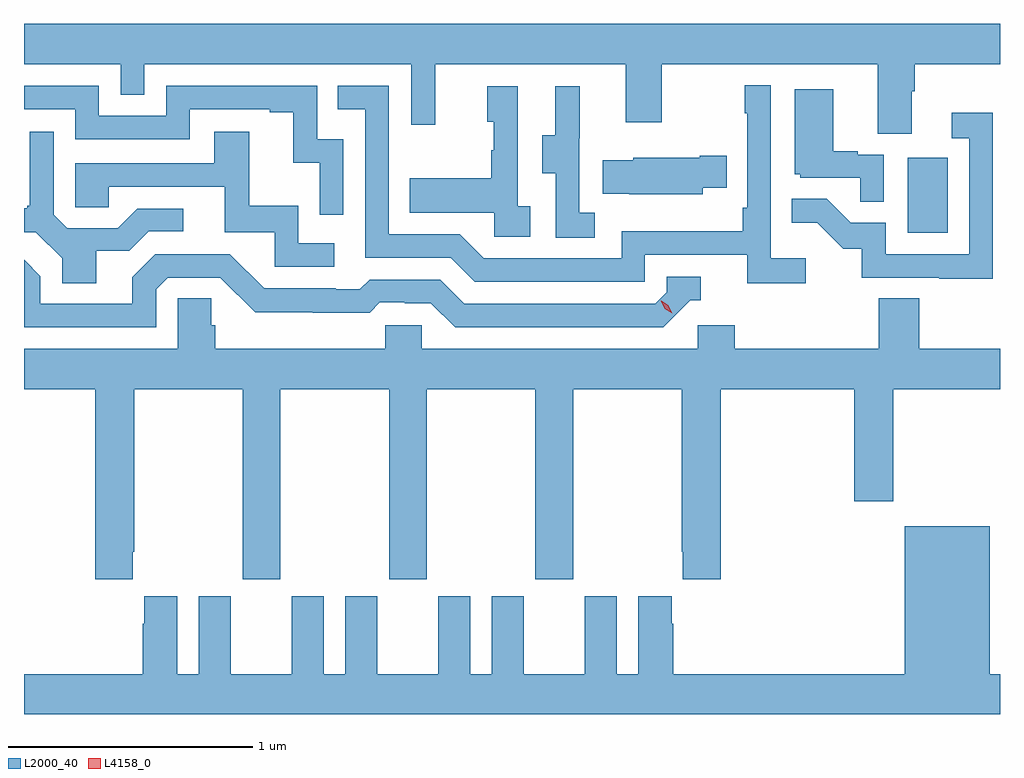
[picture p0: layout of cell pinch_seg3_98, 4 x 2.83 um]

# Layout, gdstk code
import gdstk
lib = gdstk.Library(unit=1e-6, precision=1e-09)
def R(c, l, rs):  # rectangles x0, y0, x1, y1
    for r in rs: c.add(gdstk.rectangle(r[:2], r[2:], *l))
def P(c, l, *ps):  # polygons
    for p in ps: c.add(gdstk.Polygon(p, *l))
L2000_40 = (2000, 40)
L4158_0 = (4158, 0)

pinch_seg3_98 = lib.new_cell('pinch_seg3_98')
R(pinch_seg3_98, L2000_40, [(1063.352,728.196,1063.516,728.503)])
P(pinch_seg3_98, L2000_40, [(1063.369,728.776),(1063.382,728.776),(1063.382,728.888),(1063.731,728.888),(1063.731,729.052),(1059.731,729.052),(1059.731,728.888),(1060.128,728.888),(1060.128,728.761),(1060.224,728.761),(1060.224,728.888),(1061.319,728.888),(1061.319,728.64),(1061.417,728.64),(1061.417,728.888),(1062.197,728.888),(1062.197,728.649),(1062.345,728.649),(1062.345,728.888),(1063.229,728.888),(1063.229,728.602),(1063.369,728.602)],
  [(1062.934,728.092),(1062.792,728.092),(1062.792,728.8),(1062.684,728.8),(1062.684,728.687),(1062.696,728.687),(1062.696,728.299),(1062.676,728.299),(1062.676,728.203),(1062.18,728.203),(1062.18,728.091),(1061.616,728.091),(1061.517,728.19),(1061.226,728.19),(1061.226,728.799),(1061.017,728.799),(1061.017,728.703),(1061.13,728.703),(1061.13,728.094),(1061.48,728.094),(1061.579,727.995),(1062.276,727.995),(1062.276,728.106),(1062.695,728.106),(1062.695,727.99),(1062.934,727.99)],
  [(1061.04,728.58),(1060.932,728.58),(1060.932,728.799),(1060.314,728.799),(1060.314,728.676),(1060.038,728.676),(1060.038,728.799),(1059.731,728.799),(1059.731,728.703),(1059.942,728.703),(1059.942,728.58),(1060.41,728.58),(1060.41,728.703),(1060.739,728.703),(1060.739,728.691),(1060.835,728.691),(1060.835,728.483),(1060.944,728.483),(1060.944,728.271),(1061.04,728.271)],
  [(1061.806,728.306),(1061.754,728.306),(1061.754,728.797),(1061.63,728.797),(1061.63,728.652),(1061.656,728.652),(1061.656,728.534),(1061.646,728.534),(1061.646,728.419),(1061.311,728.419),(1061.311,728.279),(1061.658,728.279),(1061.658,728.181),(1061.806,728.181)],
  [(1062.07,728.279),(1062.006,728.279),(1062.006,728.583),(1062.008,728.583),(1062.008,728.797),(1061.909,728.797),(1061.909,728.595),(1061.855,728.595),(1061.855,728.44),(1061.91,728.44),(1061.91,728.176),(1062.07,728.176)],
  [(1063.254,728.517),(1063.148,728.517),(1063.148,728.53),(1063.048,728.53),(1063.048,728.785),(1062.89,728.785),(1062.89,728.436),(1062.912,728.436),(1062.912,728.421),(1063.159,728.421),(1063.159,728.323),(1063.254,728.323)],
  [(1063.701,728.689),(1063.533,728.689),(1063.533,728.583),(1063.605,728.583),(1063.605,728.109),(1063.263,728.109),(1063.263,728.238),(1063.119,728.238),(1063.021,728.336),(1062.877,728.336),(1062.877,728.237),(1062.981,728.237),(1063.088,728.13),(1063.165,728.13),(1063.165,728.013),(1063.483,728.013),(1063.483,728.008),(1063.701,728.008)],
  [(1060.027,728.122),(1060.162,728.122),(1060.242,728.202),(1060.384,728.202),(1060.384,728.295),(1060.196,728.295),(1060.115,728.214),(1059.909,728.214),(1059.852,728.271),(1059.852,728.611),(1059.755,728.611),(1059.755,728.308),(1059.744,728.308),(1059.744,728.296),(1059.731,728.296),(1059.731,728.199),(1059.78,728.199),(1059.887,728.092),(1059.887,727.99),(1060.027,727.99)],
  [(1061.002,728.154),(1060.854,728.154),(1060.854,728.308),(1060.655,728.308),(1060.655,728.611),(1060.511,728.611),(1060.511,728.481),(1059.942,728.481),(1059.942,728.301),(1060.079,728.301),(1060.079,728.385),(1060.553,728.385),(1060.553,728.199),(1060.758,728.199),(1060.758,728.058),(1061.002,728.058)],
  [(1062.513,728.381),(1062.611,728.381),(1062.611,728.511),(1062.5,728.511),(1062.5,728.503),(1062.228,728.503),(1062.228,728.494),(1062.103,728.494),(1062.103,728.357),(1062.211,728.357),(1062.211,728.354),(1062.513,728.354)],
  [(1060.272,727.965),(1060.32,728.013),(1060.536,728.013),(1060.678,727.871),(1060.914,727.871),(1060.914,727.869),(1061.147,727.869),(1061.189,727.911),(1061.292,727.911),(1061.292,727.908),(1061.399,727.908),(1061.498,727.809),(1062.351,727.809),(1062.462,727.92),(1062.505,727.92),(1062.505,728.016),(1062.366,728.016),(1062.366,727.953),(1062.318,727.905),(1061.535,727.905),(1061.436,728.004),(1061.147,728.004),(1061.108,727.965),(1061.009,727.965),(1061.009,727.968),(1060.716,727.968),(1060.575,728.109),(1060.269,728.109),(1060.175,728.015),(1060.175,727.905),(1059.798,727.905),(1059.798,728.019),(1059.731,728.086),(1059.731,727.809),(1060.272,727.809)],
  [(1060.177,726.889),(1060.182,726.889),(1060.182,727.556),(1060.627,727.556),(1060.627,726.777),(1060.782,726.777),(1060.782,727.556),(1061.227,727.556),(1061.227,726.777),(1061.382,726.777),(1061.382,727.556),(1061.827,727.556),(1061.827,726.777),(1061.982,726.777),(1061.982,727.556),(1062.427,727.556),(1062.427,726.889),(1062.431,726.889),(1062.431,726.777),(1062.587,726.777),(1062.587,727.556),(1063.133,727.556),(1063.133,727.095),(1063.293,727.095),(1063.293,727.556),(1063.731,727.556),(1063.731,727.72),(1063.4,727.72),(1063.4,727.928),(1063.235,727.928),(1063.235,727.72),(1062.644,727.72),(1062.644,727.818),(1062.492,727.818),(1062.492,727.72),(1061.361,727.72),(1061.361,727.818),(1061.211,727.818),(1061.211,727.72),(1060.514,727.72),(1060.514,727.818),(1060.499,727.818),(1060.499,727.928),(1060.362,727.928),(1060.362,727.72),(1059.731,727.72),(1059.731,727.556),(1060.022,727.556),(1060.022,726.777),(1060.177,726.777)],
  [(1063.731,726.388),(1063.69,726.388),(1063.69,726.994),(1063.34,726.994),(1063.34,726.388),(1062.392,726.388),(1062.392,726.593),(1062.385,726.593),(1062.385,726.706),(1062.248,726.706),(1062.248,726.388),(1062.16,726.388),(1062.16,726.706),(1062.029,726.706),(1062.029,726.388),(1061.779,726.388),(1061.779,726.706),(1061.648,726.706),(1061.648,726.388),(1061.56,726.388),(1061.56,726.706),(1061.429,726.706),(1061.429,726.388),(1061.179,726.388),(1061.179,726.706),(1061.048,726.706),(1061.048,726.388),(1060.96,726.388),(1060.96,726.706),(1060.829,726.706),(1060.829,726.388),(1060.579,726.388),(1060.579,726.706),(1060.448,726.706),(1060.448,726.388),(1060.36,726.388),(1060.36,726.706),(1060.223,726.706),(1060.223,726.593),(1060.217,726.593),(1060.217,726.388),(1059.731,726.388),(1059.731,726.224),(1063.731,726.224)])
P(pinch_seg3_98, L4158_0, [(1062.388,727.866),(1062.357,727.885),(1062.341,727.918),(1062.341,727.918),(1062.342,727.918),(1062.372,727.899),(1062.388,727.866),(1062.388,727.866)])

lib.write_gds('pinch_seg3_98.gds')
